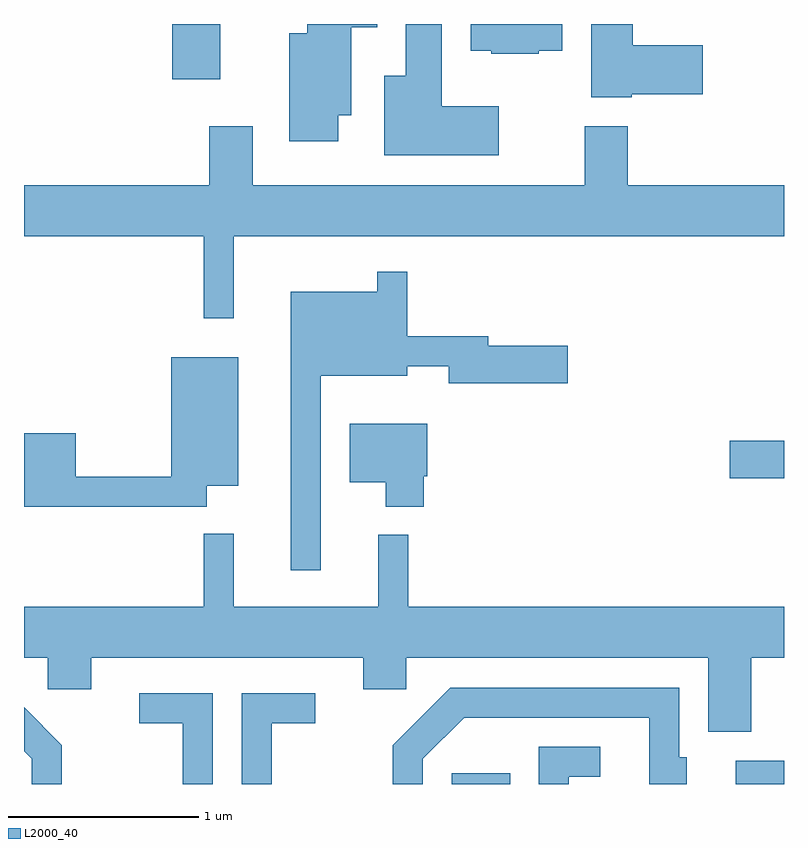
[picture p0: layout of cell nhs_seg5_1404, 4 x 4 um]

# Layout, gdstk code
import gdstk
lib = gdstk.Library(unit=1e-6, precision=1e-09)
def R(c, l, rs):  # rectangles x0, y0, x1, y1
    for r in rs: c.add(gdstk.rectangle(r[:2], r[2:], *l))
def P(c, l, *ps):  # polygons
    for p in ps: c.add(gdstk.Polygon(p, *l))
L2000_40 = (2000, 40)

nhs_seg5_1404 = lib.new_cell('nhs_seg5_1404')
R(nhs_seg5_1404, L2000_40, [(227.861,1516.072,228.169,1516.129), (229.356,1516.072,229.611,1516.194), (229.326,1517.681,229.611,1517.879), (226.391,1519.781,226.644,1520.072)])
P(nhs_seg5_1404, L2000_40, [(228.32,1519.931),(228.444,1519.931),(228.444,1520.072),(227.961,1520.072),(227.961,1519.931),(228.07,1519.931),(228.07,1519.916),(228.32,1519.916)],
  [(227.264,1519.591),(227.334,1519.591),(227.334,1520.056),(227.469,1520.056),(227.469,1520.072),(227.101,1520.072),(227.101,1520.024),(227.006,1520.024),(227.006,1519.456),(227.264,1519.456)],
  [(228.109,1519.639),(227.809,1519.639),(227.809,1520.072),(227.621,1520.072),(227.621,1519.799),(227.506,1519.799),(227.506,1519.381),(228.109,1519.381)],
  [(228.81,1519.701),(229.184,1519.701),(229.184,1519.959),(228.814,1519.959),(228.814,1520.072),(228.596,1520.072),(228.596,1519.686),(228.81,1519.686)],
  [(226.714,1518.956),(229.611,1518.956),(229.611,1519.224),(228.789,1519.224),(228.789,1519.534),(228.561,1519.534),(228.561,1519.224),(226.814,1519.224),(226.814,1519.534),(226.586,1519.534),(226.586,1519.224),(225.611,1519.224),(225.611,1518.956),(226.556,1518.956),(226.556,1518.523),(226.714,1518.523)],
  [(227.174,1518.221),(227.629,1518.221),(227.629,1518.271),(227.846,1518.271),(227.846,1518.181),(228.474,1518.181),(228.474,1518.379),(228.054,1518.379),(228.054,1518.429),(227.629,1518.429),(227.629,1518.768),(227.471,1518.768),(227.471,1518.664),(227.016,1518.664),(227.016,1517.198),(227.174,1517.198)],
  [(226.574,1517.641),(226.739,1517.641),(226.739,1518.319),(226.386,1518.319),(226.386,1517.689),(225.884,1517.689),(225.884,1517.919),(225.611,1517.919),(225.611,1517.531),(226.574,1517.531)],
  [(227.714,1517.691),(227.734,1517.691),(227.734,1517.969),(227.326,1517.969),(227.326,1517.661),(227.516,1517.661),(227.516,1517.531),(227.714,1517.531)],
  [(229.439,1516.736),(229.611,1516.736),(229.611,1517.004),(227.634,1517.004),(227.634,1517.383),(227.476,1517.383),(227.476,1517.004),(226.714,1517.004),(226.714,1517.388),(226.556,1517.388),(226.556,1517.004),(225.611,1517.004),(225.611,1516.736),(225.736,1516.736),(225.736,1516.571),(225.964,1516.571),(225.964,1516.736),(227.396,1516.736),(227.396,1516.571),(227.624,1516.571),(227.624,1516.736),(229.211,1516.736),(229.211,1516.346),(229.439,1516.346)],
  [(227.709,1516.204),(227.927,1516.421),(228.901,1516.421),(228.901,1516.072),(229.099,1516.072),(229.099,1516.214),(229.059,1516.214),(229.059,1516.579),(227.854,1516.579),(227.551,1516.277),(227.551,1516.072),(227.709,1516.072)],
  [(226.914,1516.391),(227.143,1516.391),(227.143,1516.549),(226.756,1516.549),(226.756,1516.072),(226.914,1516.072)],
  [(226.604,1516.549),(226.218,1516.549),(226.218,1516.391),(226.446,1516.391),(226.446,1516.072),(226.604,1516.072)],
  [(225.809,1516.277),(225.611,1516.475),(225.611,1516.244),(225.651,1516.204),(225.651,1516.072),(225.809,1516.072)],
  [(228.479,1516.111),(228.643,1516.111),(228.643,1516.269),(228.321,1516.269),(228.321,1516.072),(228.479,1516.072)])

lib.write_gds('nhs_seg5_1404.gds')
